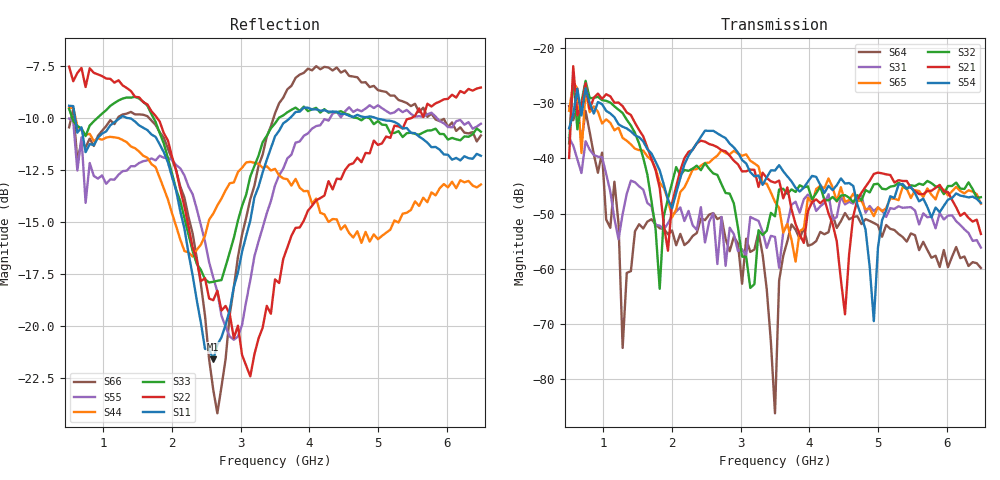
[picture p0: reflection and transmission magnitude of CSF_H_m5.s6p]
!Keysight Technologies,M9804A,MY58100912,A.14.10.03
!Date: Thursday, April 27, 2023 10:28:33
!Correction: S11(C  6-Port  )
!S12(C  6-Port  )
!S13(C  6-Port  )
!S14(C  6-Port  )
!S15(C  6-Port  )
!S16(C  6-Port  )
!S21(C  6-Port  )
!S22(C  6-Port  )
!S23(C  6-Port  )
!S24(C  6-Port  )
!S25(C  6-Port  )
!S26(C  6-Port  )
!S31(C  6-Port  )
!S32(C  6-Port  )
!S33(C  6-Port  )
!S34(C  6-Port  )
!S35(C  6-Port  )
!S36(C  6-Port  )
!S41(C  6-Port  )
!S42(C  6-Port  )
!S43(C  6-Port  )
!S44(C  6-Port  )
!S45(C  6-Port  )
!S46(C  6-Port  )
!S51(C  6-Port  )
!S52(C  6-Port  )
!S53(C  6-Port  )
!S54(C  6-Port  )
!S55(C  6-Port  )
!S56(C  6-Port  )
!S61(C  6-Port  )
!S62(C  6-Port  )
!S63(C  6-Port  )
!S64(C  6-Port  )
!S65(C  6-Port  )
!S66(C  6-Port  )
!S6P File: Measurement: :
# Hz S  RI  R 50
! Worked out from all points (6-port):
!   101 points, 500 MHz to 6.5 GHz, reference 50 ohm
!   strongest paths, dB at 500 MHz, 2 GHz, 3.5 GHz, 5 GHz, 6.5 GHz:
!     S54: -34.5, -49.0, -42.2, -56.1, -48.1
!     S21: -39.9, -48.1, -44.4, -42.6, -53.7
!     S32: -37.3, -44.4, -50.5, -44.6, -47.0
!     S65: -31.4, -50.7, -47.9, -48.8, -48.2
!     S31: -36.3, -50.3, -54.2, -48.9, -56.1
!     S64: -30.5, -53.0, -86.1, -52.1, -59.8
!   lowest |S11| = -21.6 dB at 2.6 GHz (marker M1), VSWR 1.18, Z = 42.6 + j2.04 ohm
!   |S11| at or under -10 dB: 587.3 MHz to 1.239 GHz (652 MHz wide, 71.4 % of centre); 1.367 GHz to 3.715 GHz (2.349 GHz wide, 92.4 % of centre); 4.976 GHz to end of sweep
